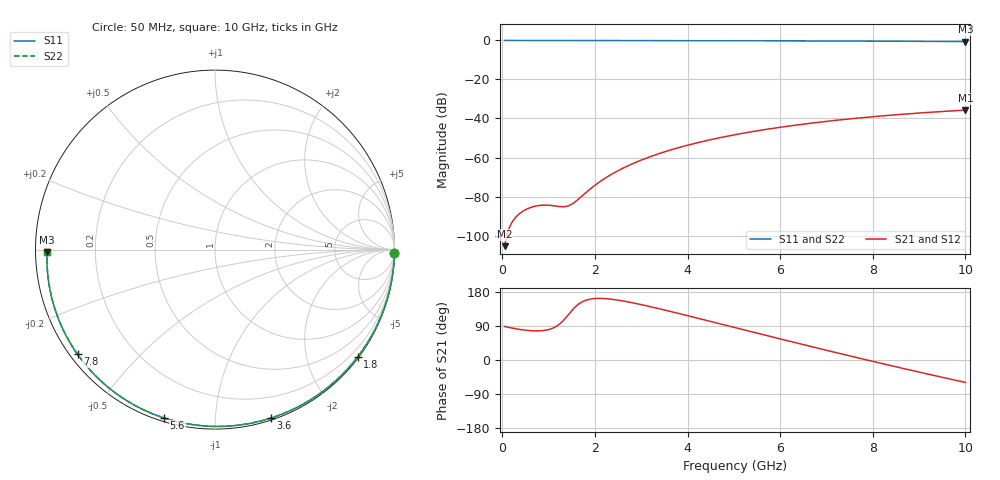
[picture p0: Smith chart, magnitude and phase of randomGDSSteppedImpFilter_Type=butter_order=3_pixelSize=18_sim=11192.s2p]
! freq	dB(S11)	phase(S11)	dB(S12)	phase(S12)
!  dB(S21)	phase(S21)	dB(S22)	phase(S22)
!S-par simulation data
#  GHz  S  DB  R 50
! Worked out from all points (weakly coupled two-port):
!   200 points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, 50 MHz to 10 GHz, reference 50 ohm
!   highest |S21| = -35.72 dB at 10 GHz (marker M1); lowest = -105.4 dB at 50 MHz (marker M2)
!   lowest |S11| = -0.6 dB at 10 GHz (marker M3), VSWR 30.07, Z = 1.66 - j0.34 ohm
!   |S11| at or under -10 dB: nowhere
!   |S22| runs from -0.6 to 0.0 dB; largest |S21 - S12| = 0
!   S11 on the Smith chart (normalised r, x): 50 MHz: open; 1.8 GHz: 0.03, -2.99; 3.6 GHz: 0.02, -1.38; 5.6 GHz: 0.02, -0.74; 7.8 GHz: 0.02, -0.34; 10 GHz: 0.03, -0.01
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0.05  -0.00 -1.1  -105.44 88.6  -105.44 88.6  -0.00 -1.1
0.45  -0.01 -9.4  -87.44 79.4  -87.44 79.4  -0.01 -9.4
0.85  -0.02 -17.7  -84.46 77.3  -84.46 77.3  -0.02 -17.7
1.25  -0.03 -25.9  -85.15 96.2  -85.15 96.2  -0.03 -25.9
1.7  -0.04 -35.0  -80.19 151.7  -80.19 151.7  -0.04 -35.0
1.75  -0.05 -36.0  -79.14 154.9  -79.14 154.9  -0.05 -36.0
1.8  -0.05 -37.0  -78.10 157.4  -78.10 157.4  -0.05 -37.0
2  -0.05 -41.0  -74.24 162.2  -74.24 162.2  -0.05 -41.0
2.15  -0.06 -44.0  -71.69 162.5  -71.69 162.5  -0.06 -44.0
2.5  -0.06 -50.8  -66.75 157.9  -66.75 157.9  -0.06 -50.8
2.9  -0.08 -58.5  -62.30 148.8  -62.30 148.8  -0.08 -58.5
3.4  -0.09 -68.0  -57.89 134.9  -57.89 134.9  -0.09 -67.9
3.6  -0.10 -71.7  -56.38 129.1  -56.38 129.1  -0.10 -71.6
4.3  -0.12 -84.3  -51.93 107.9  -51.93 107.9  -0.12 -84.3
5.05  -0.15 -97.4  -48.20 84.7  -48.20 84.7  -0.15 -97.4
5.6  -0.17 -106.8  -45.94 67.8  -45.94 67.8  -0.17 -106.7
6.15  -0.21 -115.9  -44.00 51.1  -44.00 51.1  -0.21 -115.9
6.7  -0.24 -124.9  -42.30 34.6  -42.30 34.6  -0.24 -124.9
7.8  -0.33 -142.7  -39.52 2.2  -39.52 2.2  -0.33 -142.6
8.35  -0.38 -151.6  -38.37 -13.6  -38.37 -13.6  -0.38 -151.5
9.2  -0.47 -165.6  -36.87 -37.5  -36.87 -37.5  -0.47 -165.5
10  -0.58 -179.2  -35.72 -59.3  -35.72 -59.3  -0.58 -179.2
